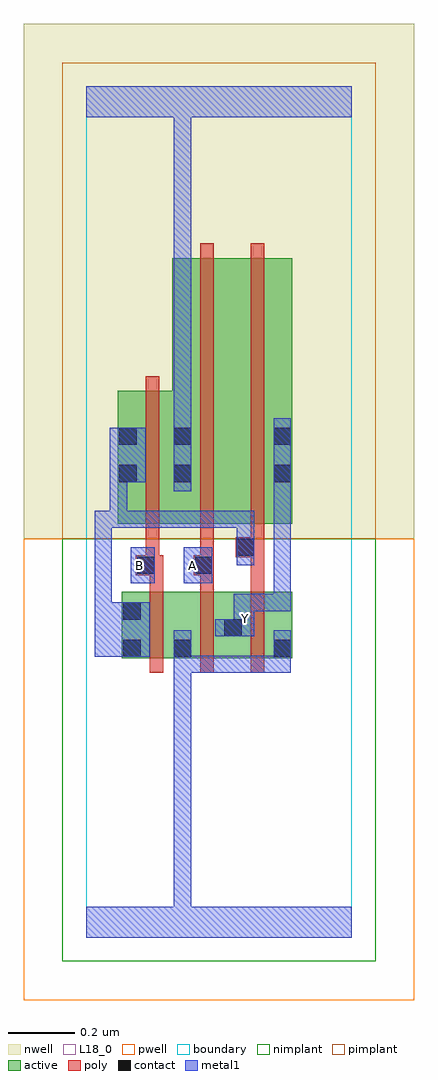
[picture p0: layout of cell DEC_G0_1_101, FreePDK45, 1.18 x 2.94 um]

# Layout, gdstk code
import gdstk
lib = gdstk.Library(unit=1e-6, precision=1e-09)
def R(c, l, rs):  # rectangles x0, y0, x1, y1
    for r in rs: c.add(gdstk.rectangle(r[:2], r[2:], *l))
def A(c, l, x, y, w, h, nx, ny, dx, dy):  # array of equal rectangles
    R(c, l, [(x+i*dx, y+j*dy, x+i*dx+w, y+j*dy+h) for i in range(nx) for j in range(ny)])
active = (1, 0)
pwell = (2, 0)
nwell = (3, 0)
nimplant = (4, 0)
pimplant = (5, 0)
poly = (9, 0)
contact = (10, 0)
metal1 = (11, 0)
L18_0 = (18, 0)
boundary = (235, 0)

dec_g0_1_101 = lib.new_cell('DEC_G0_1_101')
R(dec_g0_1_101, active, [(0.108,0.84,0.168,1.04), (0.108,0.84,0.32,1.04), (0.26,0.84,0.472,1.04), (0.26,0.84,0.32,0.9), (0.412,0.84,0.62,1.04), (0.412,0.84,0.472,0.962), (0.56,0.84,0.62,1.04), (0.096,1.244,0.156,1.644), (0.096,1.244,0.32,1.644), (0.26,1.244,0.44,2.044), (0.26,1.244,0.32,1.644), (0.44,1.244,0.62,2.044), (0.56,1.244,0.62,2.044)])
R(dec_g0_1_101, pwell, [(-0.188,-0.188,0.988,1.2)])
R(dec_g0_1_101, nwell, [(-0.188,1.2,0.988,2.748)])
R(dec_g0_1_101, nimplant, [(-0.072,-0.072,0.872,1.2)])
R(dec_g0_1_101, pimplant, [(-0.072,1.2,0.872,2.632)])
A(dec_g0_1_101, poly, 0.192, 0.796, 0.04, 0.288, 3, 1, 0.152, 0)
R(dec_g0_1_101, poly, [(0.192,1.044,0.232,1.13), (0.344,1.044,0.384,1.13), (0.496,1.044,0.536,1.184), (0.15,1.09,0.232,1.15), (0.324,1.09,0.384,1.15), (0.18,1.11,0.22,1.15), (0.18,1.11,0.22,1.15), (0.18,1.11,0.22,1.24), (0.344,1.11,0.384,1.15), (0.344,1.11,0.384,1.15), (0.344,1.11,0.384,1.24), (0.45,1.144,0.536,1.204), (0.496,1.144,0.536,1.184), (0.496,1.144,0.536,1.184), (0.496,1.164,0.536,1.24), (0.18,1.2,0.22,1.688), (0.344,1.2,0.384,2.088), (0.496,1.2,0.536,2.088)])
R(dec_g0_1_101, contact, [(0.112,0.844,0.164,0.896), (0.264,0.844,0.316,0.896), (0.564,0.844,0.616,0.896), (0.416,0.906,0.468,0.958), (0.112,0.956,0.164,1.008), (0.154,1.094,0.206,1.146), (0.328,1.094,0.38,1.146), (0.454,1.148,0.506,1.2), (0.1,1.37,0.152,1.422), (0.264,1.37,0.316,1.422), (0.564,1.37,0.616,1.422), (0.1,1.482,0.152,1.534), (0.264,1.482,0.316,1.534), (0.564,1.482,0.616,1.534)])
R(dec_g0_1_101, metal1, [(0,0,0.8,0.092), (0.264,0.04,0.316,0.092), (0.264,0.04,0.316,0.092), (0.264,0.04,0.316,0.092), (0.264,0.04,0.316,0.092), (0.264,0.04,0.316,0.092), (0.264,0.04,0.316,0.092), (0.264,0.04,0.316,0.092), (0.264,0.04,0.316,0.092), (0.264,0.04,0.316,0.092), (0.264,0.04,0.316,0.092), (0.264,0.04,0.316,0.092), (0.264,0.04,0.316,0.092), (0.264,0.04,0.316,0.092), (0.264,0.04,0.316,0.092), (0.264,0.04,0.316,0.092), (0.264,0.04,0.316,0.092), (0.264,0.04,0.316,0.868), (0.264,0.796,0.316,0.868), (0.264,0.796,0.506,0.848), (0.454,0.796,0.506,0.848), (0.454,0.796,0.616,0.848), (0.564,0.796,0.616,0.868), (0.264,0.816,0.316,0.868), (0.264,0.816,0.316,0.924), (0.564,0.816,0.616,0.868), (0.564,0.816,0.616,0.924), (0.026,0.844,0.192,1.008), (0.388,0.906,0.496,0.958), (0.444,0.906,0.496,0.958), (0.444,0.906,0.506,1.034), (0.026,0.956,0.078,1.008), (0.026,0.956,0.078,1.008), (0.026,0.956,0.078,1.284), (0.454,0.982,0.616,1.034), (0.564,0.982,0.616,1.394), (0.564,0.982,0.616,1.034), (0.564,0.982,0.616,1.034), (0.564,0.982,0.616,1.034), (0.564,0.982,0.616,1.034), (0.564,0.982,0.616,1.034), (0.134,1.066,0.206,1.174), (0.294,1.066,0.38,1.174), (0.454,1.12,0.506,1.228), (0.454,1.176,0.506,1.228), (0.454,1.176,0.506,1.284), (0.026,1.232,0.124,1.284), (0.072,1.232,0.124,1.284), (0.072,1.232,0.124,1.284), (0.072,1.232,0.33,1.284), (0.072,1.232,0.124,1.422), (0.278,1.232,0.33,1.284), (0.278,1.232,0.33,1.284), (0.278,1.232,0.33,1.284), (0.278,1.232,0.506,1.284), (0.264,1.342,0.316,1.562), (0.564,1.342,0.616,1.562), (0.072,1.37,0.18,1.534), (0.264,1.51,0.316,2.52), (0,2.468,0.8,2.56), (0.264,2.468,0.316,2.52), (0.264,2.468,0.316,2.52), (0.264,2.468,0.316,2.52), (0.264,2.468,0.316,2.52), (0.264,2.468,0.316,2.52), (0.264,2.468,0.316,2.52), (0.264,2.468,0.316,2.52), (0.264,2.468,0.316,2.52)])
R(dec_g0_1_101, L18_0, [(0,0,0.8,0.092), (0.264,0.04,0.316,0.092), (0.264,0.04,0.316,0.092), (0.264,0.04,0.316,0.092), (0.264,0.04,0.316,0.092), (0.264,0.04,0.316,0.092), (0.264,0.04,0.316,0.092), (0.264,0.04,0.316,0.092), (0.264,0.04,0.316,0.092), (0.264,0.04,0.316,0.092), (0.264,0.04,0.316,0.092), (0.264,0.04,0.316,0.092), (0.264,0.04,0.316,0.092), (0.264,0.04,0.316,0.092), (0.264,0.04,0.316,0.092), (0.264,0.04,0.316,0.092), (0.264,0.04,0.316,0.092), (0.264,0.04,0.316,0.868), (0.264,0.796,0.316,0.868), (0.264,0.796,0.506,0.848), (0.454,0.796,0.506,0.848), (0.454,0.796,0.616,0.848), (0.564,0.796,0.616,0.868), (0.264,0.816,0.316,0.868), (0.264,0.816,0.316,0.924), (0.564,0.816,0.616,0.868), (0.564,0.816,0.616,0.924), (0.388,0.906,0.496,0.958), (0.444,0.906,0.496,0.958), (0.444,0.906,0.506,1.034), (0.454,0.934,0.506,0.986), (0.454,0.982,0.616,1.034), (0.564,0.982,0.616,1.034), (0.564,0.982,0.616,1.034), (0.564,0.982,0.616,1.034), (0.564,0.982,0.616,1.034), (0.564,0.982,0.616,1.034), (0.564,0.982,0.616,1.394), (0.134,1.066,0.206,1.174), (0.294,1.066,0.38,1.174), (0.134,1.094,0.186,1.146), (0.294,1.094,0.346,1.146), (0.264,1.342,0.316,1.562), (0.564,1.342,0.616,1.562), (0.264,1.51,0.316,2.52), (0,2.468,0.8,2.56), (0.264,2.468,0.316,2.52), (0.264,2.468,0.316,2.52), (0.264,2.468,0.316,2.52), (0.264,2.468,0.316,2.52), (0.264,2.468,0.316,2.52), (0.264,2.468,0.316,2.52), (0.264,2.468,0.316,2.52), (0.264,2.468,0.316,2.52)])
R(dec_g0_1_101, boundary, [(0,0,0.8,2.56)])
dec_g0_1_101.add(gdstk.Label('A', (0.32,1.12), layer=11, texttype=0))
dec_g0_1_101.add(gdstk.Label('B', (0.16,1.12), layer=11, texttype=0))
dec_g0_1_101.add(gdstk.Label('Y', (0.48,0.96), layer=11, texttype=0))

lib.write_gds('DEC_G0_1_101.gds')
